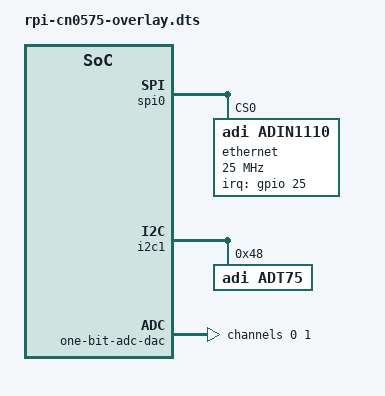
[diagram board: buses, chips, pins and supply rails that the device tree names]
// SPDX-License-Identifier: (GPL-2.0+ OR BSD-3-Clause)
/* Overlay for EVAL-CN0575-RPIZ Rev. A
 *
 * Copyright 2022 Analog Devices Inc.
 */

/dts-v1/;
/plugin/;

#include <dt-bindings/interrupt-controller/irq.h>

&spidev0 {
	status = "disabled";
};

&spidev1 {
	status = "disabled";
};

&spi0 {
	#address-cells = <1>;
	#size-cells = <0>;
	status = "okay";

	ethernet@0 {
		compatible = "adi,adin1110";
		reg = <0>;
		spi-max-frequency = <25000000>;

		#address-cells = <1>;
		#size-cells = <0>;

		interrupt-parent = <&gpio>;
		interrupts = <25 IRQ_TYPE_LEVEL_LOW>;
		mac-address = [ CA 2F B7 10 23 63 ];

		phy@0 {
			compatible = "ethernet-phy-id0283.bc91";
			reg = <0x0>;
		};
	};
};

&i2c1 {
	#address-cells = <1>;
	#size-cells = <0>;
	status = "okay";

	adt75@48 {
		reg = <0x48>;
		compatible = "adi,adt75";
	};
};

&gpio {
	gpio_overrides: gpio_overrides {
		pin-13-reset-high {
			pins = "gpio27";
			function = "gpio_out";
			bias-pull-up;
			output-high;
			export;
		};
	};
};

&{/} {
	#include <dt-bindings/gpio/gpio.h>

	one-bit-adc-dac {
		compatible = "adi,one-bit-adc-dac";
		label = "gpios";
		#address-cells = <1>;
		#size-cells = <0>;
		in-gpios = <&gpio 16 (GPIO_ACTIVE_LOW | GPIO_PULL_UP)>;
		out-gpios = <&gpio 26 GPIO_ACTIVE_HIGH>;
		status = "okay";

		channel@0 {
			reg = <0>;
			label = "EXT_BTN";
		};

		channel@1 {
			reg = <1>;
			label = "EXT_LED";
		};
	};
};
